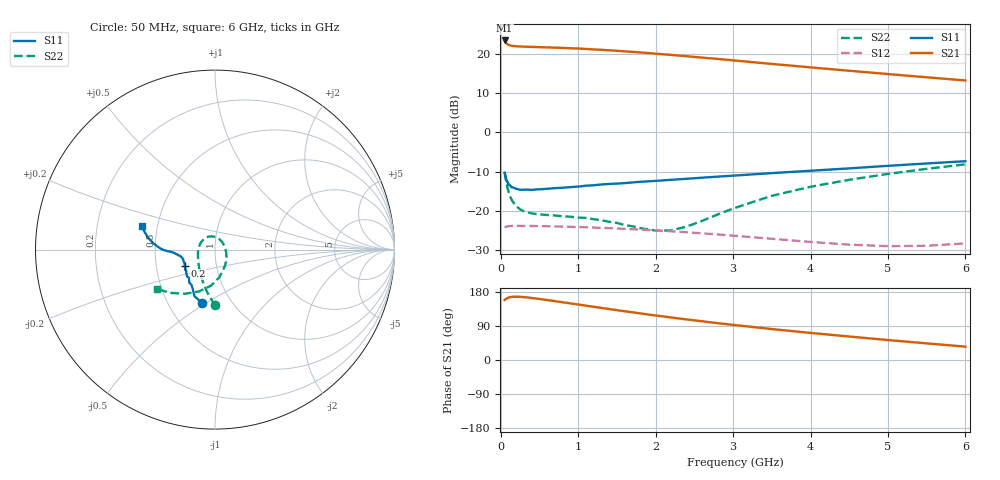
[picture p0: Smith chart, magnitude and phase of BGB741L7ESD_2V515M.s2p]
!  Infineon Technologies AG
!  BGB741L7ESD
!  Vce = 2.5V, Ic = 15.0mA
!  DATUM: 30.06.2009 10:08:53
# GHz  S  MA  R  50
!f  S11  S21  S12  S22
!GHz  Mag  Ang  Mag  Ang  Mag  Ang  Mag  Ang
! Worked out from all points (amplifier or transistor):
!   44 points, 50 MHz to 6 GHz, reference 50 ohm
!   highest |S21| = 23.3 dB at 50 MHz (marker M1)
!   |S21| within 3 dB of that: start of sweep to 1.772 GHz
!   unconditionally stable (mu >= 1): 200 MHz to end of sweep
!   at 120 MHz: K = 0.97, MSG = 23.0 dB, |S12| = -23.8 dB
!   at 1 GHz: K = 1.04, MAG = 21.5 dB, |S12| = -24.1 dB
!   at 6 GHz: K = 1.93, MAG = 15.2 dB, |S12| = -28.2 dB
!   S11 on the Smith chart (normalised r, x): 50 MHz: 0.73, -0.48; 200 MHz: 0.70, -0.13; 6 GHz: 0.41, +0.13
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0.05  0.3068 -103.3  14.68 158.4  0.06159 18.1  0.3113 -89.9
0.06  0.2837 -113.8  14.03 159.8  0.0625 15.0  0.2669 -96.0
0.07  0.2564 -118.4  13.58 161.6  0.06325 12.8  0.235 -101.5
0.08  0.2359 -123.8  13.28 162.8  0.06357 10.9  0.2105 -106.2
0.1  0.2137 -132.3  12.91 164.5  0.06398 8.7  0.1765 -114.7
0.14  0.2001 -142.8  12.58 166.5  0.06443 5.8  0.1393 -128.7
0.2  0.1914 -151.6  12.4 167.0  0.06467 3.4  0.1151 -144.5
0.35  0.1866 -162.0  12.21 164.9  0.06454 0.4  0.09587 -171.6
0.7  0.1951 -168.8  11.92 155.3  0.06367 -3.0  0.08772 150.8
1.1  0.2097 -171.9  11.45 143.4  0.06202 -5.5  0.08157 118.9
1.4  0.2203 -173.8  11.01 134.5  0.06048 -7.0  0.07295 96.7
1.6  0.2261 -175.1  10.67 128.7  0.05928 -7.8  0.06643 79.8
1.9  0.238 -176.5  10.18 120.2  0.05736 -8.9  0.05857 49.2
2.2  0.2489 -177.4  9.625 112.2  0.0552 -9.6  0.05658 12.0
2.8  0.2731 -178.8  8.551 97.3  0.05034 -10.1  0.09022 -47.0
3  0.2811 -179.1  8.202 92.7  0.04863 -9.9  0.1075 -59.1
3.5  0.3028 178.9  7.395 81.7  0.04435 -8.1  0.1559 -81.0
4  0.3246 176.5  6.68 71.5  0.04046 -4.5  0.2032 -96.7
4.5  0.3478 173.9  6.051 61.9  0.03733 1.6  0.2491 -110.8
5  0.3749 170.3  5.496 52.7  0.03572 9.8  0.2959 -123.8
5.5  0.4013 166.4  4.998 43.9  0.03612 18.9  0.3433 -135.3
6  0.4292 162.4  4.553 35.3  0.03875 27.3  0.3916 -145.8
